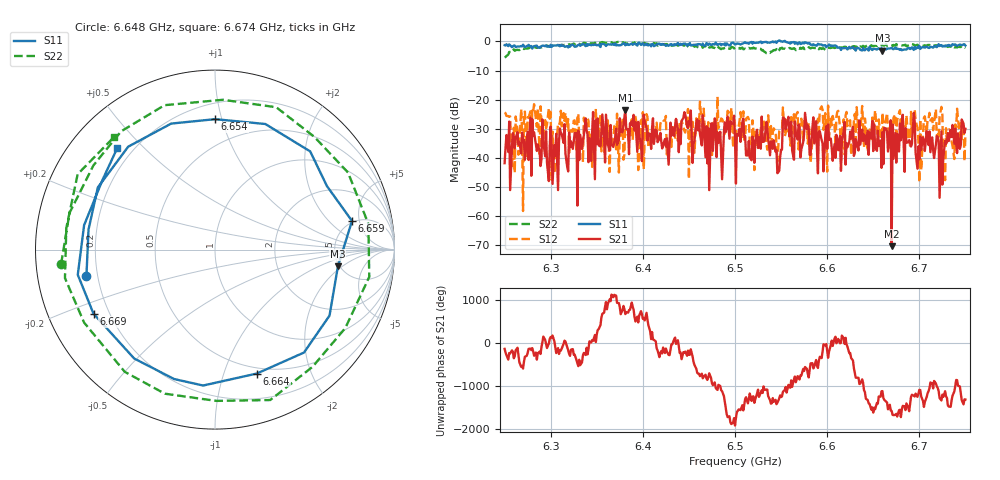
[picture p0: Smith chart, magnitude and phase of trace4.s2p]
# Hz S RI R 50
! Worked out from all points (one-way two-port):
!   401 points, 6.25 GHz to 6.75 GHz, reference 50 ohm
!   highest |S21| = -23.59 dB at 6.381 GHz (marker M1); lowest = -70.2 dB at 6.67 GHz (marker M2)
!   lowest |S11| = -3.2 dB at 6.66 GHz (marker M3), VSWR 5.48, Z = 242 - j86.6 ohm
!   |S11| at or under -10 dB: nowhere
!   |S22| runs from -5.5 to -0.1 dB; largest |S21 - S12| = 0.12
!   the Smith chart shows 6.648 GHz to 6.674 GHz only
!   S11 on the Smith chart (normalised r, x): 6.648 GHz: 0.16, -0.10; 6.654 GHz: 0.31, +0.95; 6.659 GHz: 4.81, +3.92; 6.664 GHz: 0.44, -1.30; 6.669 GHz: 0.14, -0.24; 6.674 GHz: 0.14, +0.42
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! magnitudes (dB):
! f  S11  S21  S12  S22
! 6.25 GHz  -1.3  -41.8  -24.4  -5.5
! 6.268 GHz  -1.6  -38.5  -23.2  -2.5
! 6.282 GHz  -1.6  -31.2  -21.5  -2.0
! 6.298 GHz  -1.8  -47.9  -22.9  -1.6
! 6.304 GHz  -1.4  -35.6  -45.3  -1.4
! 6.314 GHz  -1.5  -34.8  -24.6  -1.4
! 6.334 GHz  -1.0  -36.9  -32.9  -1.0
! 6.381 GHz  -1.3  -23.6  -26.1  -0.4
! 6.418 GHz  -0.7  -33.4  -33.5  -0.8
! 6.5 GHz  -1.1  -33.0  -28.7  -2.1
! 6.584 GHz  -1.2  -29.6  -33.7  -2.1
! 6.648 GHz  -2.7  -33.1  -33.5  -1.3
! 6.654 GHz  -2.8  -37.5  -30.2  -1.6
! 6.659 GHz  -2.2  -43.4  -42.1  -1.2
! 6.66 GHz  -3.2  -31.1  -24.4  -1.2
! 6.664 GHz  -2.7  -29.9  -26.3  -1.0
! 6.668 GHz  -2.4  -30.1  -36.4  -1.4
! 6.669 GHz  -2.3  -27.0  -30.7  -1.6
! 6.67 GHz  -2.2  -70.2  -27.7  -1.4
! 6.674 GHz  -2.1  -31.4  -25.0  -1.5
! 6.725 GHz  -1.8  -49.1  -25.1  -1.4
! 6.75 GHz  -1.4  -30.0  -32.3  -2.3
